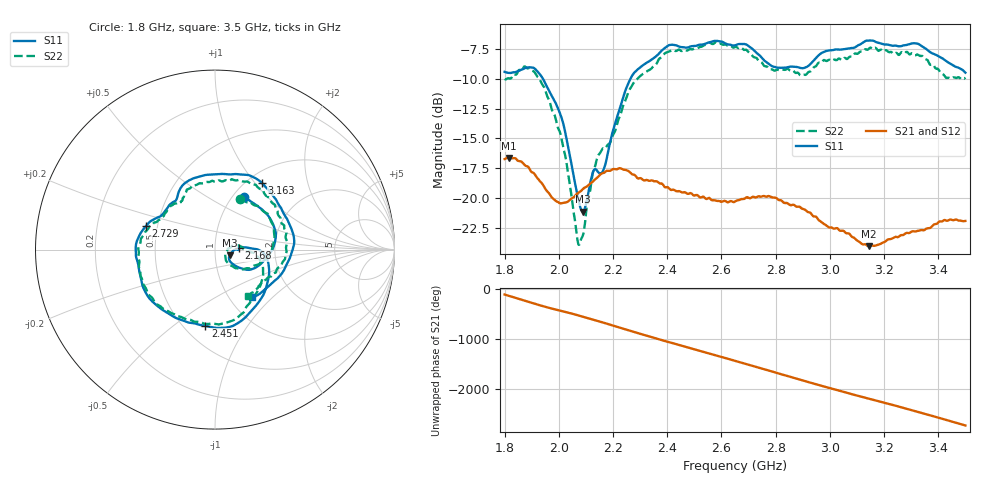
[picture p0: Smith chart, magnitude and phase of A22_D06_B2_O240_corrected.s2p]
! Created with skrf 1.9.0 (http://scikit-rf.org).
# Hz S RI R 50.0
!freq ReS11 ImS11 ReS21 ImS21 ReS12 ImS12 ReS22 ImS22
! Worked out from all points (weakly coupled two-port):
!   1601 points, 1.8 GHz to 3.5 GHz, reference 50 ohm
!   highest |S21| = -16.64 dB at 1.816 GHz (marker M1); lowest = -24.0 dB at 3.144 GHz (marker M2)
!   lowest |S11| = -21.2 dB at 2.09 GHz (marker M3), VSWR 1.19, Z = 58.8 - j3.74 ohm
!   |S11| at or under -10 dB: 1.941 GHz to 2.264 GHz (323.1 MHz wide, 15.4 % of centre)
!   |S22| runs from -23.9 to -7.0 dB; largest |S21 - S12| = 0.0024
!   S11 on the Smith chart (normalised r, x): 1.8 GHz: 1.12, +0.75; 2.168 GHz: 1.31, +0.03; 2.451 GHz: 0.63, -0.66; 2.729 GHz: 0.43, +0.14; 3.163 GHz: 1.16, +1.09; 3.5 GHz: 1.27, -0.75
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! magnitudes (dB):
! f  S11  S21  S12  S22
! 1.8 GHz  -9.4  -16.7  -16.7  -10.0
! 1.816 GHz  -9.5  -16.6  -16.6  -10.0
! 1.881 GHz  -9.1  -17.3  -17.3  -9.1
! 1.944 GHz  -10.1  -19.0  -19.0  -10.7
! 2.013 GHz  -13.4  -20.4  -20.4  -15.4
! 2.068 GHz  -19.7  -19.6  -19.6  -23.3
! 2.084 GHz  -21.0  -19.4  -19.3  -23.4
! 2.09 GHz  -21.2  -19.2  -19.3  -23.0
! 2.129 GHz  -17.7  -18.5  -18.5  -17.6
! 2.168 GHz  -17.5  -17.9  -17.9  -15.9
! 2.261 GHz  -10.2  -17.8  -17.8  -10.9
! 2.367 GHz  -7.9  -18.7  -18.6  -8.4
! 2.451 GHz  -7.4  -19.5  -19.5  -7.7
! 2.65 GHz  -7.2  -20.3  -20.3  -7.4
! 2.729 GHz  -7.8  -19.9  -20.0  -8.3
! 2.805 GHz  -9.1  -20.0  -20.1  -9.3
! 2.934 GHz  -8.6  -21.4  -21.4  -9.2
! 3.144 GHz  -6.8  -24.0  -24.0  -7.5
! 3.163 GHz  -6.8  -24.0  -24.0  -7.5
! 3.217 GHz  -7.2  -23.4  -23.4  -7.8
! 3.325 GHz  -7.1  -22.7  -22.7  -8.0
! 3.5 GHz  -9.5  -21.9  -21.9  -10.0
